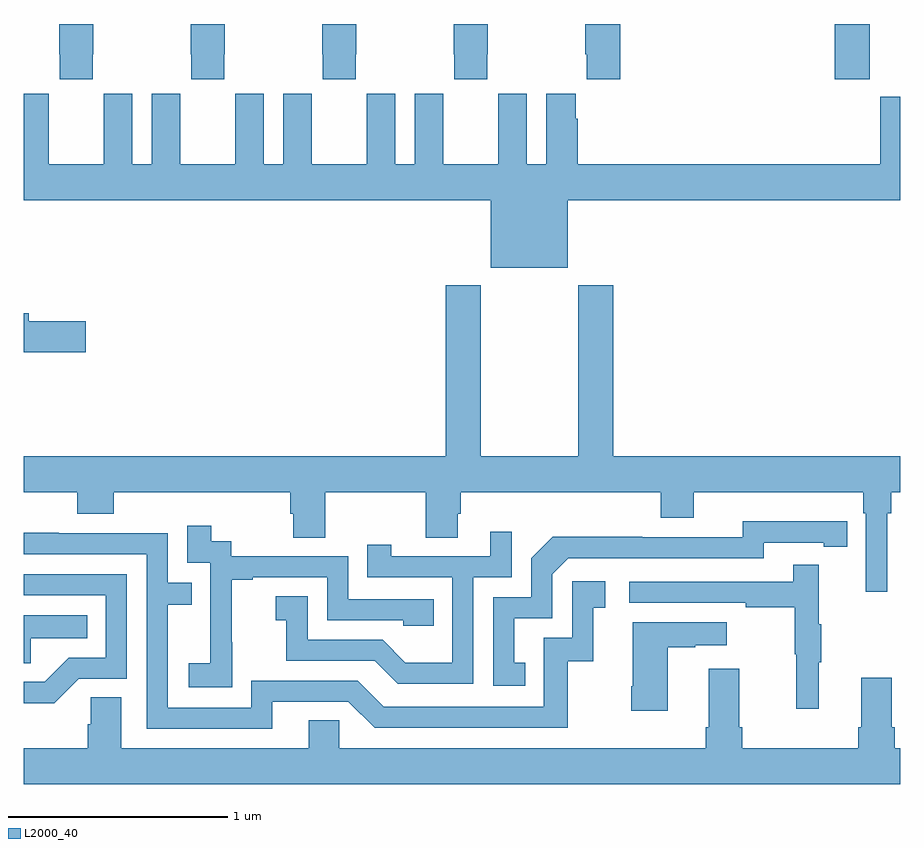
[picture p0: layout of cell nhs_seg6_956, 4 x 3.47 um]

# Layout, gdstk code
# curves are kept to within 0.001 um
import gdstk
lib = gdstk.Library(unit=1e-6, precision=1e-09)
def R(c, l, rs):  # rectangles x0, y0, x1, y1
    for r in rs: c.add(gdstk.rectangle(r[:2], r[2:], *l))
def P(c, l, *ps):  # polygons
    for p in ps: c.add(gdstk.Polygon(p, *l))
L2000_40 = (2000, 40)

nhs_seg6_956 = lib.new_cell('nhs_seg6_956')
R(nhs_seg6_956, L2000_40, [(174.701,921.249,174.861,921.5)])
P(nhs_seg6_956, L2000_40, [(173.115,921.361),(173.118,921.361),(173.118,921.5),(172.963,921.5),(172.963,921.361),(172.965,921.361),(172.965,921.249),(173.115,921.249)],
  [(172.515,921.361),(172.518,921.361),(172.518,921.5),(172.363,921.5),(172.363,921.361),(172.365,921.361),(172.365,921.249),(172.515,921.249)],
  [(171.915,921.361),(171.918,921.361),(171.918,921.5),(171.763,921.5),(171.763,921.361),(171.765,921.361),(171.765,921.249),(171.915,921.249)],
  [(171.315,921.361),(171.318,921.361),(171.318,921.5),(171.163,921.5),(171.163,921.361),(171.165,921.361),(171.165,921.249),(171.315,921.249)],
  [(173.723,921.5),(173.563,921.5),(173.563,921.361),(173.569,921.361),(173.569,921.249),(173.723,921.249)],
  [(173.482,920.696),(175,920.696),(175,921.169),(174.908,921.169),(174.908,920.86),(173.528,920.86),(173.528,921.068),(173.518,921.068),(173.518,921.181),(173.384,921.181),(173.384,920.86),(173.296,920.86),(173.296,921.181),(173.166,921.181),(173.166,921.068),(173.165,921.068),(173.165,920.86),(172.915,920.86),(172.915,921.068),(172.914,921.068),(172.914,921.181),(172.784,921.181),(172.784,920.86),(172.696,920.86),(172.696,921.181),(172.566,921.181),(172.566,921.068),(172.565,921.068),(172.565,920.86),(172.315,920.86),(172.315,921.068),(172.314,921.068),(172.314,921.181),(172.184,921.181),(172.184,920.86),(172.096,920.86),(172.096,921.181),(171.966,921.181),(171.966,921.068),(171.965,921.068),(171.965,920.86),(171.715,920.86),(171.715,921.068),(171.714,921.068),(171.714,921.181),(171.584,921.181),(171.584,920.86),(171.496,920.86),(171.496,921.181),(171.366,921.181),(171.366,921.068),(171.365,921.068),(171.365,920.86),(171.115,920.86),(171.115,921.068),(171.114,921.068),(171.114,921.181),(171,921.181),(171,920.696),(173.132,920.696),(173.132,920.387),(173.482,920.387)],
  [(174.94,919.268),(174.959,919.268),(174.959,919.364),(175,919.364),(175,919.528),(173.69,919.528),(173.69,920.308),(173.53,920.308),(173.53,919.528),(173.085,919.528),(173.085,920.308),(172.925,920.308),(172.925,919.528),(171,919.528),(171,919.364),(171.245,919.364),(171.245,919.265),(171.41,919.265),(171.41,919.364),(172.217,919.364),(172.217,919.266),(172.229,919.266),(172.229,919.156),(172.377,919.156),(172.377,919.364),(172.834,919.364),(172.834,919.156),(172.981,919.156),(172.981,919.266),(172.994,919.266),(172.994,919.364),(173.906,919.364),(173.906,919.247),(174.058,919.247),(174.058,919.364),(174.83,919.364),(174.83,919.268),(174.843,919.268),(174.843,918.909),(174.94,918.909)],
  [(171.283,920.144),(171.022,920.144),(171.022,920.18),(171,920.18),(171,920.002),(171.283,920.002)],
  [(173.288,918.585),(173.239,918.585),(173.239,918.789),(173.412,918.789),(173.412,918.99),(173.484,919.062),(174.378,919.062),(174.378,919.134),(174.65,919.134),(174.65,919.114),(174.758,919.114),(174.758,919.23),(174.282,919.231),(174.282,919.158),(173.822,919.158),(173.822,919.16),(173.414,919.16),(173.316,919.062),(173.316,918.885),(173.142,918.885),(173.142,918.48),(173.288,918.48)],
  [(171.951,918.679),(171.95,918.679),(171.95,918.963),(172.045,918.963),(172.045,918.975),(172.386,918.975),(172.386,918.78),(172.731,918.78),(172.731,918.753),(172.871,918.753),(172.871,918.876),(172.482,918.876),(172.482,919.071),(171.948,919.071),(171.948,919.14),(171.856,919.14),(171.856,919.21),(171.747,919.21),(171.747,919.041),(171.852,919.041),(171.852,918.812),(171.851,918.812),(171.851,918.583),(171.753,918.583),(171.753,918.473),(171.951,918.473)],
  [(173.052,918.975),(173.226,918.975),(173.226,919.183),(173.129,919.183),(173.129,919.071),(172.678,919.071),(172.678,919.123),(172.567,919.123),(172.567,918.975),(172.956,918.975),(172.956,918.586),(172.742,918.586),(172.638,918.69),(172.296,918.69),(172.296,918.889),(172.149,918.889),(172.149,918.779),(172.198,918.779),(172.198,918.594),(172.601,918.594),(172.706,918.489),(173.052,918.489)],
  [(172.135,918.408),(172.482,918.408),(172.602,918.288),(173.482,918.288),(173.482,918.591),(173.6,918.591),(173.6,918.837),(173.653,918.837),(173.653,918.958),(173.502,918.958),(173.502,918.699),(173.373,918.699),(173.373,918.384),(172.644,918.384),(172.524,918.504),(172.038,918.504),(172.038,918.381),(171.657,918.381),(171.657,918.85),(171.767,918.85),(171.767,918.951),(171.657,918.951),(171.657,919.176),(171.161,919.176),(171.161,919.178),(171,919.178),(171,919.08),(171.561,919.08),(171.561,918.285),(172.135,918.285)],
  [(174.629,918.587),(174.64,918.587),(174.64,918.761),(174.629,918.761),(174.629,919.033),(174.511,919.033),(174.511,918.954),(173.763,918.954),(173.763,918.858),(174.295,918.858),(174.295,918.838),(174.519,918.838),(174.519,918.624),(174.526,918.624),(174.526,918.375),(174.629,918.375)],
  [(171.252,918.513),(171.471,918.513),(171.471,918.99),(171,918.99),(171,918.894),(171.375,918.894),(171.375,918.609),(171.206,918.609),(171.095,918.498),(171,918.498),(171,918.401),(171.139,918.401)],
  [(171.033,918.698),(171.29,918.698),(171.29,918.802),(171,918.802),(171,918.583),(171.033,918.583)],
  [(173.938,918.655),(174.065,918.655),(174.065,918.665),(174.208,918.665),(174.208,918.769),(173.78,918.769),(173.78,918.478),(173.773,918.478),(173.773,918.366),(173.938,918.366)],
  [(175,918.196),(174.974,918.196),(174.974,918.292),(174.961,918.292),(174.961,918.517),(174.821,918.517),(174.821,918.292),(174.809,918.292),(174.809,918.196),(174.278,918.196),(174.278,918.292),(174.265,918.292),(174.265,918.559),(174.125,918.559),(174.125,918.292),(174.113,918.292),(174.113,918.196),(172.44,918.196),(172.44,918.323),(172.301,918.323),(172.301,918.196),(171.445,918.196),(171.445,918.428),(171.306,918.428),(171.306,918.305),(171.293,918.305),(171.293,918.196),(171,918.196),(171,918.032),(175,918.032)])

lib.write_gds('nhs_seg6_956.gds')
